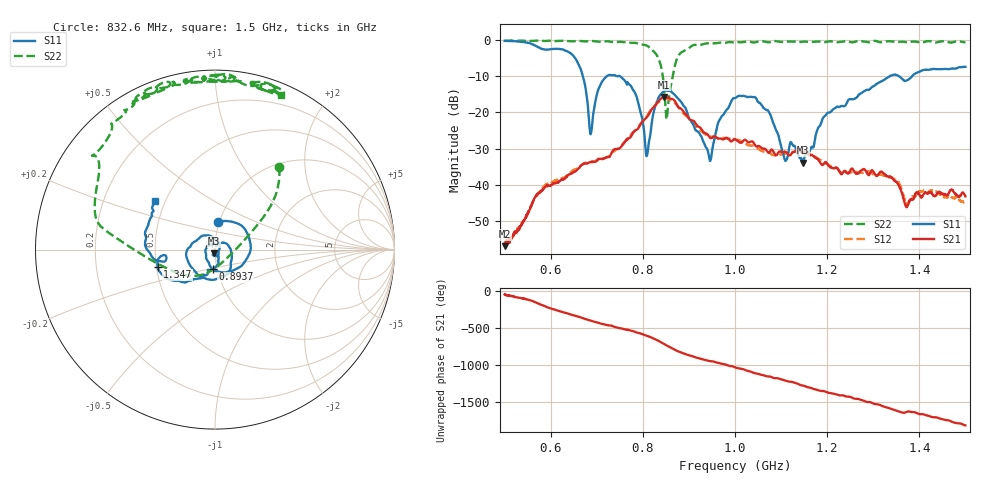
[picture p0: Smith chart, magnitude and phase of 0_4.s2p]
!Agilent Technologies,E8364B,US42250235,A.06.04.32
!Agilent E8364B: A.06.04.32
!Date: Thursday, October 01, 2020 13:14:31
!Correction: S11(Full 2 Port(1,2)) S21(Full 2 Port(1,2)) S12(Full 2 Port(1,2)) S22(Full 2 Port(1,2))
!S2P File: Measurements: S11, S21, S12, S22:
# Hz S  dB  R 50
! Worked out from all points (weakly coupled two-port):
!   2650 points, 500 MHz to 1.5 GHz, reference 50 ohm
!   highest |S21| = -15.69 dB at 846.2 MHz (marker M1); lowest = -57.0 dB at 501.1 MHz (marker M2)
!   lowest |S11| = -33.9 dB at 1.147 GHz (marker M3), VSWR 1.04, Z = 49.5 - j1.96 ohm
!   |S11| at or under -10 dB: 669.9 MHz to 721.5 MHz (51.56 MHz wide, 7.41 % of centre); 750.7 MHz to 1.335 GHz (584.2 MHz wide, 56 % of centre); 1.356 GHz to 1.384 GHz (28.09 MHz wide, 2.05 % of centre)
!   |S22| runs from -21.9 to -0.1 dB; largest |S21 - S12| = 0.036
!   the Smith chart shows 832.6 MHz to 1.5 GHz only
!   S11 on the Smith chart (normalised r, x): 832.6 MHz: 0.99, +0.31; 893.7 MHz: 0.95, -0.21; 1.347 GHz: 0.51, -0.11; 1.5 GHz: 0.44, +0.29
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5e8  -0.17 -174.8  -56.57 -45.0  -56.09 -44.4  -0.19 137.0
5.011325e8  -0.18 -175.4  -57.01 -46.4  -55.89 -48.4  -0.19 136.6
6.230653e8  -2.49 106.2  -38.63 83.7  -38.28 87.6  -0.15 126.3
6.668554e8  -8.66 39.2  -34.59 3.3  -34.59 4.5  -0.25 123.3
6.872405e8  -25.89 82.0  -33.69 -38.5  -33.92 -38.1  -0.21 118.1
7.17818e8  -10.45 101.1  -32.66 -89.3  -32.62 -90.7  -0.33 111.8
7.710457e8  -12.31 19.0  -27.05 -166.0  -26.78 -175.4  -0.67 102.3
8.091733e8  -31.84 -150.5  -21.22 117.6  -21.01 107.0  -1.54 83.6
8.325783e8  -16.30 83.1  -17.04 55.4  -17.30 41.1  -4.71 52.1
8.337108e8  -15.96 79.1  -16.88 51.8  -17.19 37.7  -5.03 50.2
8.461684e8  -14.01 42.2  -15.69 7.8  -16.14 -4.3  -13.32 24.6
8.533409e8  -13.97 18.9  -15.82 -16.9  -16.25 -27.8  -19.96 -87.3
8.937335e8  -19.13 -97.2  -20.54 -129.8  -20.90 -138.8  -2.68 154.9
9.458286e8  -33.44 71.8  -27.01 138.5  -26.72 134.5  -0.83 129.4
1.000189e9  -16.00 -79.1  -27.36 54.3  -27.56 45.6  -0.56 119.0
1.147037e9  -33.87 -101.8  -31.25 168.7  -30.89 167.0  -0.39 99.4
1.166667e9  -29.47 -78.2  -31.77 131.9  -31.76 128.7  -0.45 98.8
1.198377e9  -20.49 -85.6  -33.84 79.6  -34.21 75.1  -0.46 93.3
1.333522e9  -10.13 -148.6  -37.75 -133.6  -37.89 -139.5  -0.28 83.9
1.34749e9  -9.52 -163.3  -39.03 -162.9  -38.51 -167.7  -0.44 84.8
1.372405e9  -11.18 -169.0  -46.21 173.0  -45.13 158.8  -0.59 79.9
1.5e9  -7.35 141.0  -43.22 -9.3  -45.01 -23.5  -0.57 66.7
